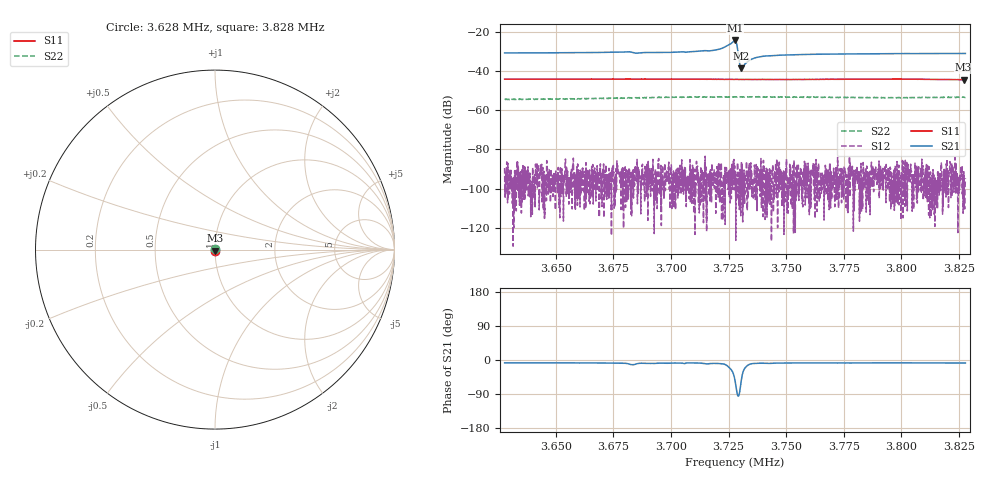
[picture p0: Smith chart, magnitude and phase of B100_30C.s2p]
# Hz S dB R 50.000
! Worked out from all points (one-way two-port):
!   6401 points, 3.628 MHz to 3.828 MHz, reference 50 ohm
!   highest |S21| = -24.43 dB at 3.728 MHz (marker M1); lowest = -38.7 dB at 3.731 MHz (marker M2)
!   lowest |S11| = -44.5 dB at 3.827 MHz (marker M3), VSWR 1.01, Z = 49.9 - j0.59 ohm
!   |S11| at or under -10 dB: start of sweep to end of sweep
!   |S22| runs from -54.7 to -53.1 dB; largest |S21 - S12| = 0.06
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3627813  -44.15 -95.7  -30.79 -7.5  -89.55 -16.2  -54.41 97.1
3661157  -44.13 -95.0  -30.64 -7.8  -95.52 34.5  -54.14 97.6
3681313  -44.13 -95.0  -30.17 -9.7  -94.08 59.6  -53.71 94.2
3685063  -44.13 -95.1  -30.94 -10.2  -93.61 135.1  -53.71 92.9
3694500  -44.14 -95.3  -30.62 -8.4  -86.03 63.8  -53.46 92.5
3717876  -44.24 -95.3  -29.56 -9.1  -91.25 60.2  -53.26 93.7
3722126  -44.29 -95.5  -28.45 -9.9  -98.80 -118.7  -53.31 95.0
3727157  -44.29 -95.2  -24.92 -37.3  -92.36 98.2  -53.24 95.7
3727813  -44.26 -95.3  -24.43 -53.8  -98.73 95.9  -53.28 97.0
3728157  -44.29 -95.5  -24.82 -66.5  -126.47 -160.9  -53.18 96.5
3728532  -44.27 -95.2  -26.18 -81.1  -101.43 88.0  -53.24 96.2
3729844  -44.30 -95.3  -36.29 -84.5  -92.22 25.1  -53.17 96.6
3730532  -44.32 -95.2  -38.66 -54.7  -90.97 81.9  -53.19 96.1
3731188  -44.32 -95.7  -37.91 -33.9  -104.52 140.8  -53.32 97.0
3733000  -44.30 -95.3  -35.53 -15.5  -104.14 28.6  -53.25 97.6
3735000  -44.34 -95.2  -34.00 -9.9  -91.00 -3.7  -53.23 97.5
3738844  -44.34 -95.2  -32.70 -8.5  -99.98 60.7  -53.19 98.1
3747750  -44.39 -95.2  -31.93 -8.0  -97.47 31.7  -53.26 100.1
3761157  -44.29 -95.4  -31.51 -7.8  -91.20 51.2  -53.41 100.0
3794500  -44.16 -96.2  -31.21 -7.4  -94.30 41.7  -53.57 96.9
3827032  -44.51 -96.8  -31.08 -7.9  -90.56 -84.6  -53.37 92.6
3827813  -44.47 -96.8  -31.07 -7.9  -94.77 10.4  -53.46 92.2
